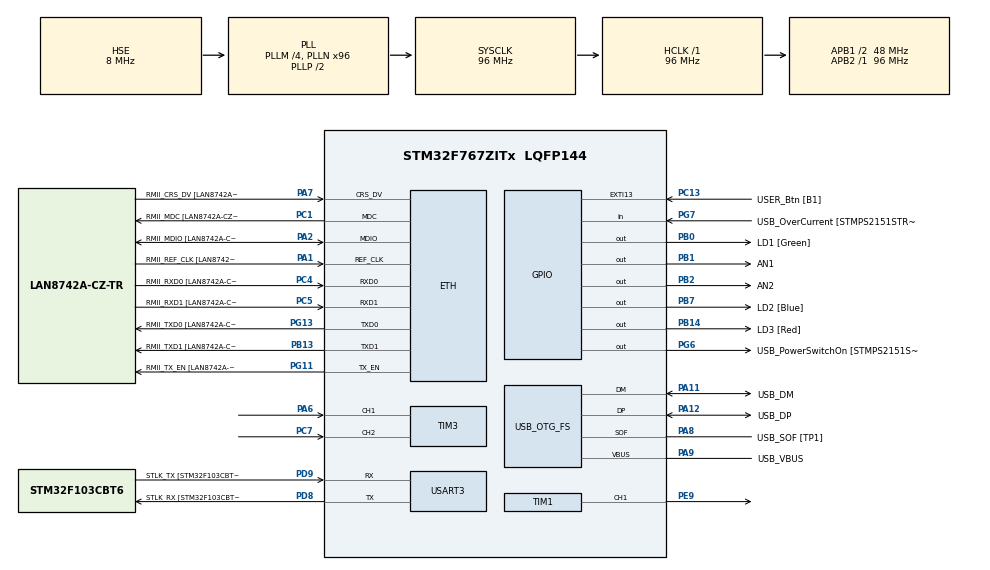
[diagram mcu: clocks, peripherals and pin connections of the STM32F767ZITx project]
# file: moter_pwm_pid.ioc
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ETH.MediaInterface=HAL_ETH_RMII_MODE
ETH.PHY_Name=LAN8742A_PHY_ADDRESS
ETH.PHY_Value=0
ETH.PhyAddress=0
FREERTOS.Tasks01=MotorControlTas,48,512,StartDefaultTask,Default,NULL,Dynamic,NULL,NULL
FREERTOS.configUSE_NEWLIB_REENTRANT=1
Mcu.Family=STM32F7
Mcu.Name=STM32F767ZITx
Mcu.Package=LQFP144
NVIC.PriorityGroup=NVIC_PRIORITYGROUP_4
NVIC.TIM6_DAC_IRQn=true\:15\:0\:false\:false\:true\:false\:false\:true\:true
NVIC.TimeBase=TIM6_DAC_IRQn
NVIC.TimeBaseIP=TIM6
PA1.GPIO_Label=RMII_REF_CLK [LAN8742A-CZ-TR_REFCLK0]
PA1.Mode=RMII
PA1.Signal=ETH_REF_CLK
PA10.GPIO_Label=USB_ID
PA10.Signal=USB_OTG_FS_ID
PA11.GPIO_Label=USB_DM
PA11.Mode=Device_Only
PA11.Signal=USB_OTG_FS_DM
PA12.GPIO_Label=USB_DP
PA12.Mode=Device_Only
PA12.Signal=USB_OTG_FS_DP
PA13.GPIO_Label=TMS
PA13.Mode=Serial_Wire
PA13.Signal=SYS_JTMS-SWDIO
PA14.GPIO_Label=TCK
PA14.Mode=Serial_Wire
PA14.Signal=SYS_JTCK-SWCLK
PA2.GPIO_Label=RMII_MDIO [LAN8742A-CZ-TR_MDIO]
PA2.Mode=RMII
PA2.Signal=ETH_MDIO
PA6.Signal=S_TIM3_CH1
PA7.GPIO_Label=RMII_CRS_DV [LAN8742A-CZ-TR_CRS_DV]
PA7.Mode=RMII
PA7.Signal=ETH_CRS_DV
PA8.GPIO_Label=USB_SOF [TP1]
PA8.Mode=Activate_SOF_FS
PA8.Signal=USB_OTG_FS_SOF
PA9.GPIO_Label=USB_VBUS
PA9.Mode=Activate_VBUS
PA9.Signal=USB_OTG_FS_VBUS
PB0.GPIO_Label=LD1 [Green]
PB0.Signal=GPIO_Output
PB1.GPIO_Label=AN1
PB1.Signal=GPIO_Output
PB13.GPIO_Label=RMII_TXD1 [LAN8742A-CZ-TR_TXD1]
PB13.Mode=RMII
PB13.Signal=ETH_TXD1
PB14.GPIO_Label=LD3 [Red]
PB14.Signal=GPIO_Output
PB2.GPIO_Label=AN2
PB2.Signal=GPIO_Output
PB3.GPIO_Label=SWO
PB3.Signal=SYS_JTDO-SWO
PB7.GPIO_Label=LD2 [Blue]
PB7.Signal=GPIO_Output
PC1.GPIO_Label=RMII_MDC [LAN8742A-CZ-TR_MDC]
PC1.Mode=RMII
PC1.Signal=ETH_MDC
PC13.GPIO_Label=USER_Btn [B1]
PC13.Signal=GPXTI13
PC14/OSC32_IN.Mode=LSE-External-Oscillator
PC14/OSC32_IN.Signal=RCC_OSC32_IN
PC15/OSC32_OUT.Mode=LSE-External-Oscillator
PC15/OSC32_OUT.Signal=RCC_OSC32_OUT
PC4.GPIO_Label=RMII_RXD0 [LAN8742A-CZ-TR_RXD0]
PC4.Mode=RMII
PC4.Signal=ETH_RXD0
PC5.GPIO_Label=RMII_RXD1 [LAN8742A-CZ-TR_RXD1]
PC5.Mode=RMII
PC5.Signal=ETH_RXD1
PC7.Signal=S_TIM3_CH2
PD8.GPIO_Label=STLK_RX [STM32F103CBT6_PA3]
PD8.Mode=Asynchronous
PD8.Signal=USART3_TX
PD9.GPIO_Label=STLK_TX [STM32F103CBT6_PA2]
PD9.Mode=Asynchronous
PD9.Signal=USART3_RX
PE9.Signal=S_TIM1_CH1
PG11.GPIO_Label=RMII_TX_EN [LAN8742A-CZ-TR_TXEN]
PG11.Mode=RMII
PG11.Signal=ETH_TX_EN
PG13.GPIO_Label=RMII_TXD0 [LAN8742A-CZ-TR_TXD0]
PG13.Mode=RMII
PG13.Signal=ETH_TXD0
PG6.GPIO_Label=USB_PowerSwitchOn [STMPS2151STR_EN]
PG6.Signal=GPIO_Output
PG7.GPIO_Label=USB_OverCurrent [STMPS2151STR_FAULT]
PG7.Signal=GPIO_Input
PH0/OSC_IN.GPIO_Label=MCO [STM32F103CBT6_PA8]
PH0/OSC_IN.Mode=HSE-External-Clock-Source
PH0/OSC_IN.Signal=RCC_OSC_IN
PH1/OSC_OUT.Mode=HSE-External-Clock-Source
PH1/OSC_OUT.Signal=RCC_OSC_OUT
ProjectManager.HeapSize=0x200
ProjectManager.StackSize=0x400
ProjectManager.TargetToolchain=STM32CubeIDE
RCC.48MHZClocksFreq_Value=24000000
RCC.AHBFreq_Value=96000000
RCC.APB1CLKDivider=RCC_HCLK_DIV2
RCC.APB1Freq_Value=48000000
RCC.APB1TimFreq_Value=96000000
RCC.APB2Freq_Value=96000000
RCC.APB2TimFreq_Value=96000000
RCC.CortexFreq_Value=96000000
RCC.HCLKFreq_Value=96000000
RCC.HSE_VALUE=8000000
RCC.HSI_VALUE=16000000
RCC.PLLM=4
RCC.PLLMUL=RCC_PLL_MUL9
RCC.PLLN=96
RCC.PLLQ=4
RCC.PRESCALERUSB=RCC_USBCLKSOURCE_PLL_DIV1_5
RCC.SYSCLKFreq_VALUE=96000000
RCC.SYSCLKSource=RCC_SYSCLKSOURCE_PLLCLK
RCC.SYSCLKSourceVirtual=RCC_SYSCLKSOURCE_PLLCLK
RCC.USBFreq_Value=48000000
RCC.VCOOutputFreq_Value=192000000
SH.S_TIM1_CH1.0=TIM1_CH1,PWM Generation1 CH1
SH.S_TIM3_CH1.0=TIM3_CH1,Encoder_Interface
SH.S_TIM3_CH2.0=TIM3_CH2,Encoder_Interface
TIM1.AutoReloadPreload=TIM_AUTORELOAD_PRELOAD_ENABLE
TIM1.Channel-PWM\ Generation1\ CH1=TIM_CHANNEL_1
TIM1.CounterMode=TIM_COUNTERMODE_CENTERALIGNED1
TIM1.Period=5400
TIM3.EncoderMode=TIM_ENCODERMODE_TI12
USART3.VirtualMode-Asynchronous=VM_ASYNC
USB_OTG_FS.VirtualMode=Device_Only
VP_FREERTOS_VS_CMSIS_V2.Mode=CMSIS_V2
VP_SYS_VS_tim6.Mode=TIM6
VP_TIM1_VS_ClockSourceINT.Mode=Internal
board=NUCLEO-F767ZI

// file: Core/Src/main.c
/* USER CODE BEGIN Header */
/**
  ******************************************************************************
  * @file           : main.c
  * @brief          : Main program body
  ******************************************************************************
  * @attention
  *
  * Copyright (c) 2026 STMicroelectronics.
  * All rights reserved.
  *
  * This software is licensed under terms that can be found in the LICENSE file
  * in the root directory of this software component.
  * If no LICENSE file comes with this software, it is provided AS-IS.
  *
  ******************************************************************************
  */
/* USER CODE END Header */
#include "main.h"
#include "string.h"
#include "cmsis_os.h"

#if defined ( __ICCARM__ ) /*!< IAR Compiler */
#pragma location=0x2007c000
ETH_DMADescTypeDef  DMARxDscrTab[ETH_RX_DESC_CNT]; /* Ethernet Rx DMA Descriptors */
#pragma location=0x2007c0a0
ETH_DMADescTypeDef  DMATxDscrTab[ETH_TX_DESC_CNT]; /* Ethernet Tx DMA Descriptors */

#elif defined ( __CC_ARM )  /* MDK ARM Compiler */

__attribute__((at(0x2007c000))) ETH_DMADescTypeDef  DMARxDscrTab[ETH_RX_DESC_CNT]; /* Ethernet Rx DMA Descriptors */
__attribute__((at(0x2007c0a0))) ETH_DMADescTypeDef  DMATxDscrTab[ETH_TX_DESC_CNT]; /* Ethernet Tx DMA Descriptors */

#elif defined ( __GNUC__ ) /* GNU Compiler */

ETH_DMADescTypeDef DMARxDscrTab[ETH_RX_DESC_CNT] __attribute__((section(".RxDecripSection"))); /* Ethernet Rx DMA Descriptors */
ETH_DMADescTypeDef DMATxDscrTab[ETH_TX_DESC_CNT] __attribute__((section(".TxDecripSection")));   /* Ethernet Tx DMA Descriptors */
#endif

ETH_TxPacketConfig TxConfig;

ETH_HandleTypeDef heth;

TIM_HandleTypeDef htim1;
TIM_HandleTypeDef htim3;

UART_HandleTypeDef huart3;

PCD_HandleTypeDef hpcd_USB_OTG_FS;

/* Definitions for MotorControlTas */
osThreadId_t MotorControlTasHandle;
const osThreadAttr_t MotorControlTas_attributes = {
  .name = "MotorControlTas",
  .stack_size = 512 * 4,
  .priority = (osPriority_t) osPriorityRealtime,
};
/* USER CODE BEGIN PV */
int32_t last_cnt = 0;
float current_v = 0.0f;
volatile uint16_t u_pwm = 0;
float setpoint = 0.2f;    // 목표 속도 0.2 m/s
float e_prev = 0.0f;      // 직전 오차 (e[k-1])
float u_prev = 0.0f;      // 직전 제어 출력 (u[k-1])
static float x_hat = 0.0f;
static float P = 1.0f;
static const float Q = 0.00001f;
static const float R = 0.1f;
float raw_v;
/* USER CODE END PV */

void SystemClock_Config(void);
static void MX_GPIO_Init(void);
static void MX_ETH_Init(void);
static void MX_USART3_UART_Init(void);
static void MX_USB_OTG_FS_PCD_Init(void);
static void MX_TIM1_Init(void);
static void MX_TIM3_Init(void);
void StartDefaultTask(void *argument);

/* USER CODE BEGIN PFP */
float Kalman_Filter(float z);
/* USER CODE END PFP */

int main(void)
{

  /* MCU Configuration--------------------------------------------------------*/

  /* Reset of all peripherals, Initializes the Flash interface and the Systick. */
  HAL_Init();

  /* Configure the system clock */
  SystemClock_Config();

  /* Initialize all configured peripherals */
  MX_GPIO_Init();
  MX_ETH_Init();
  MX_USART3_UART_Init();
  MX_USB_OTG_FS_PCD_Init();
  MX_TIM1_Init();
  MX_TIM3_Init();

  /* Init scheduler */
  osKernelInitialize();

  /* Create the thread(s) */
  /* creation of MotorControlTas */
  MotorControlTasHandle = osThreadNew(StartDefaultTask, NULL, &MotorControlTas_attributes);

  /* Start scheduler */
  osKernelStart();

  /* We should never get here as control is now taken by the scheduler */

  /* Infinite loop */
  while (1)
  {

  }
}

void SystemClock_Config(void)
{
  RCC_OscInitTypeDef RCC_OscInitStruct = {0};
  RCC_ClkInitTypeDef RCC_ClkInitStruct = {0};

  /** Configure LSE Drive Capability
  */
  HAL_PWR_EnableBkUpAccess();

  /** Configure the main internal regulator output voltage
  */
  __HAL_RCC_PWR_CLK_ENABLE();
  __HAL_PWR_VOLTAGESCALING_CONFIG(PWR_REGULATOR_VOLTAGE_SCALE3);

  /** Initializes the RCC Oscillators according to the specified parameters
  * in the RCC_OscInitTypeDef structure.
  */
  RCC_OscInitStruct.OscillatorType = RCC_OSCILLATORTYPE_HSE;
  RCC_OscInitStruct.HSEState = RCC_HSE_BYPASS;
  RCC_OscInitStruct.PLL.PLLState = RCC_PLL_ON;
  RCC_OscInitStruct.PLL.PLLSource = RCC_PLLSOURCE_HSE;
  RCC_OscInitStruct.PLL.PLLM = 4;
  RCC_OscInitStruct.PLL.PLLN = 96;
  RCC_OscInitStruct.PLL.PLLP = RCC_PLLP_DIV2;
  RCC_OscInitStruct.PLL.PLLQ = 4;
  RCC_OscInitStruct.PLL.PLLR = 2;
  if (HAL_RCC_OscConfig(&RCC_OscInitStruct) != HAL_OK)
  {
    Error_Handler();
  }

  /** Activate the Over-Drive mode
  */
  if (HAL_PWREx_EnableOverDrive() != HAL_OK)
  {
    Error_Handler();
  }

  /** Initializes the CPU, AHB and APB buses clocks
  */
  RCC_ClkInitStruct.ClockType = RCC_CLOCKTYPE_HCLK|RCC_CLOCKTYPE_SYSCLK
                              |RCC_CLOCKTYPE_PCLK1|RCC_CLOCKTYPE_PCLK2;
  RCC_ClkInitStruct.SYSCLKSource = RCC_SYSCLKSOURCE_PLLCLK;
  RCC_ClkInitStruct.AHBCLKDivider = RCC_SYSCLK_DIV1;
  RCC_ClkInitStruct.APB1CLKDivider = RCC_HCLK_DIV2;
  RCC_ClkInitStruct.APB2CLKDivider = RCC_HCLK_DIV1;

  if (HAL_RCC_ClockConfig(&RCC_ClkInitStruct, FLASH_LATENCY_3) != HAL_OK)
  {
    Error_Handler();
  }
}

static void MX_ETH_Init(void)
{

   static uint8_t MACAddr[6];

  heth.Instance = ETH;
  MACAddr[0] = 0x00;
  MACAddr[1] = 0x80;
  MACAddr[2] = 0xE1;
  MACAddr[3] = 0x00;
  MACAddr[4] = 0x00;
  MACAddr[5] = 0x00;
  heth.Init.MACAddr = &MACAddr[0];
  heth.Init.MediaInterface = HAL_ETH_RMII_MODE;
  heth.Init.TxDesc = DMATxDscrTab;
  heth.Init.RxDesc = DMARxDscrTab;
  heth.Init.RxBuffLen = 1524;

  if (HAL_ETH_Init(&heth) != HAL_OK)
  {
    Error_Handler();
  }

  memset(&TxConfig, 0 , sizeof(ETH_TxPacketConfig));
  TxConfig.Attributes = ETH_TX_PACKETS_FEATURES_CSUM | ETH_TX_PACKETS_FEATURES_CRCPAD;
  TxConfig.ChecksumCtrl = ETH_CHECKSUM_IPHDR_PAYLOAD_INSERT_PHDR_CALC;
  TxConfig.CRCPadCtrl = ETH_CRC_PAD_INSERT;

}

static void MX_TIM1_Init(void)
{

  TIM_ClockConfigTypeDef sClockSourceConfig = {0};
  TIM_MasterConfigTypeDef sMasterConfig = {0};
  TIM_OC_InitTypeDef sConfigOC = {0};
  TIM_BreakDeadTimeConfigTypeDef sBreakDeadTimeConfig = {0};

  htim1.Instance = TIM1;
  htim1.Init.Prescaler = 0;
  htim1.Init.CounterMode = TIM_COUNTERMODE_CENTERALIGNED1;
  htim1.Init.Period = 5400;
  htim1.Init.ClockDivision = TIM_CLOCKDIVISION_DIV1;
  htim1.Init.RepetitionCounter = 0;
  htim1.Init.AutoReloadPreload = TIM_AUTORELOAD_PRELOAD_ENABLE;
  if (HAL_TIM_Base_Init(&htim1) != HAL_OK)
  {
    Error_Handler();
  }
  sClockSourceConfig.ClockSource = TIM_CLOCKSOURCE_INTERNAL;
  if (HAL_TIM_ConfigClockSource(&htim1, &sClockSourceConfig) != HAL_OK)
  {
    Error_Handler();
  }
  if (HAL_TIM_PWM_Init(&htim1) != HAL_OK)
  {
    Error_Handler();
  }
  sMasterConfig.MasterOutputTrigger = TIM_TRGO_RESET;
  sMasterConfig.MasterOutputTrigger2 = TIM_TRGO2_RESET;
  sMasterConfig.MasterSlaveMode = TIM_MASTERSLAVEMODE_DISABLE;
  if (HAL_TIMEx_MasterConfigSynchronization(&htim1, &sMasterConfig) != HAL_OK)
  {
    Error_Handler();
  }
  sConfigOC.OCMode = TIM_OCMODE_PWM1;
  sConfigOC.Pulse = 0;
  sConfigOC.OCPolarity = TIM_OCPOLARITY_HIGH;
  sConfigOC.OCNPolarity = TIM_OCNPOLARITY_HIGH;
  sConfigOC.OCFastMode = TIM_OCFAST_DISABLE;
  sConfigOC.OCIdleState = TIM_OCIDLESTATE_RESET;
  sConfigOC.OCNIdleState = TIM_OCNIDLESTATE_RESET;
  if (HAL_TIM_PWM_ConfigChannel(&htim1, &sConfigOC, TIM_CHANNEL_1) != HAL_OK)
  {
    Error_Handler();
  }
  sBreakDeadTimeConfig.OffStateRunMode = TIM_OSSR_DISABLE;
  sBreakDeadTimeConfig.OffStateIDLEMode = TIM_OSSI_DISABLE;
  sBreakDeadTimeConfig.LockLevel = TIM_LOCKLEVEL_OFF;
  sBreakDeadTimeConfig.DeadTime = 0;
  sBreakDeadTimeConfig.BreakState = TIM_BREAK_DISABLE;
  sBreakDeadTimeConfig.BreakPolarity = TIM_BREAKPOLARITY_HIGH;
  sBreakDeadTimeConfig.BreakFilter = 0;
  sBreakDeadTimeConfig.Break2State = TIM_BREAK2_DISABLE;
  sBreakDeadTimeConfig.Break2Polarity = TIM_BREAK2POLARITY_HIGH;
  sBreakDeadTimeConfig.Break2Filter = 0;
  sBreakDeadTimeConfig.AutomaticOutput = TIM_AUTOMATICOUTPUT_DISABLE;
  if (HAL_TIMEx_ConfigBreakDeadTime(&htim1, &sBreakDeadTimeConfig) != HAL_OK)
  {
    Error_Handler();
  }
  HAL_TIM_MspPostInit(&htim1);

}

static void MX_TIM3_Init(void)
{

  TIM_Encoder_InitTypeDef sConfig = {0};
  TIM_MasterConfigTypeDef sMasterConfig = {0};

  htim3.Instance = TIM3;
  htim3.Init.Prescaler = 0;
  htim3.Init.CounterMode = TIM_COUNTERMODE_UP;
  htim3.Init.Period = 65535;
  htim3.Init.ClockDivision = TIM_CLOCKDIVISION_DIV1;
  htim3.Init.AutoReloadPreload = TIM_AUTORELOAD_PRELOAD_DISABLE;
  sConfig.EncoderMode = TIM_ENCODERMODE_TI12;
  sConfig.IC1Polarity = TIM_ICPOLARITY_RISING;
  sConfig.IC1Selection = TIM_ICSELECTION_DIRECTTI;
  sConfig.IC1Prescaler = TIM_ICPSC_DIV1;
  sConfig.IC1Filter = 0;
  sConfig.IC2Polarity = TIM_ICPOLARITY_RISING;
  sConfig.IC2Selection = TIM_ICSELECTION_DIRECTTI;
  sConfig.IC2Prescaler = TIM_ICPSC_DIV1;
  sConfig.IC2Filter = 0;
  if (HAL_TIM_Encoder_Init(&htim3, &sConfig) != HAL_OK)
  {
    Error_Handler();
  }
  sMasterConfig.MasterOutputTrigger = TIM_TRGO_RESET;
  sMasterConfig.MasterSlaveMode = TIM_MASTERSLAVEMODE_DISABLE;
  if (HAL_TIMEx_MasterConfigSynchronization(&htim3, &sMasterConfig) != HAL_OK)
  {
    Error_Handler();
  }

}

static void MX_USART3_UART_Init(void)
{

  huart3.Instance = USART3;
  huart3.Init.BaudRate = 115200;
  huart3.Init.WordLength = UART_WORDLENGTH_8B;
  huart3.Init.StopBits = UART_STOPBITS_1;
  huart3.Init.Parity = UART_PARITY_NONE;
  huart3.Init.Mode = UART_MODE_TX_RX;
  huart3.Init.HwFlowCtl = UART_HWCONTROL_NONE;
  huart3.Init.OverSampling = UART_OVERSAMPLING_16;
  huart3.Init.OneBitSampling = UART_ONE_BIT_SAMPLE_DISABLE;
  huart3.AdvancedInit.AdvFeatureInit = UART_ADVFEATURE_NO_INIT;
  if (HAL_UART_Init(&huart3) != HAL_OK)
  {
    Error_Handler();
  }

}

static void MX_USB_OTG_FS_PCD_Init(void)
{

  hpcd_USB_OTG_FS.Instance = USB_OTG_FS;
  hpcd_USB_OTG_FS.Init.dev_endpoints = 6;
  hpcd_USB_OTG_FS.Init.speed = PCD_SPEED_FULL;
  hpcd_USB_OTG_FS.Init.dma_enable = DISABLE;
  hpcd_USB_OTG_FS.Init.phy_itface = PCD_PHY_EMBEDDED;
  hpcd_USB_OTG_FS.Init.Sof_enable = ENABLE;
  hpcd_USB_OTG_FS.Init.low_power_enable = DISABLE;
  hpcd_USB_OTG_FS.Init.lpm_enable = DISABLE;
  hpcd_USB_OTG_FS.Init.vbus_sensing_enable = ENABLE;
  hpcd_USB_OTG_FS.Init.use_dedicated_ep1 = DISABLE;
  if (HAL_PCD_Init(&hpcd_USB_OTG_FS) != HAL_OK)
  {
    Error_Handler();
  }

}

static void MX_GPIO_Init(void)
{
  GPIO_InitTypeDef GPIO_InitStruct = {0};

  /* GPIO Ports Clock Enable */
  __HAL_RCC_GPIOC_CLK_ENABLE();
  __HAL_RCC_GPIOH_CLK_ENABLE();
  __HAL_RCC_GPIOA_CLK_ENABLE();
  __HAL_RCC_GPIOB_CLK_ENABLE();
  __HAL_RCC_GPIOE_CLK_ENABLE();
  __HAL_RCC_GPIOD_CLK_ENABLE();
  __HAL_RCC_GPIOG_CLK_ENABLE();

  /*Configure GPIO pin Output Level */
  HAL_GPIO_WritePin(GPIOB, LD1_Pin|AN1_Pin|AN2_Pin|LD3_Pin
                          |LD2_Pin, GPIO_PIN_RESET);

  /*Configure GPIO pin Output Level */
  HAL_GPIO_WritePin(USB_PowerSwitchOn_GPIO_Port, USB_PowerSwitchOn_Pin, GPIO_PIN_RESET);

  /*Configure GPIO pin : USER_Btn_Pin */
  GPIO_InitStruct.Pin = USER_Btn_Pin;
  GPIO_InitStruct.Mode = GPIO_MODE_IT_RISING;
  GPIO_InitStruct.Pull = GPIO_NOPULL;
  HAL_GPIO_Init(USER_Btn_GPIO_Port, &GPIO_InitStruct);

  /*Configure GPIO pins : LD1_Pin AN1_Pin AN2_Pin LD3_Pin
                           LD2_Pin */
  GPIO_InitStruct.Pin = LD1_Pin|AN1_Pin|AN2_Pin|LD3_Pin
                          |LD2_Pin;
  GPIO_InitStruct.Mode = GPIO_MODE_OUTPUT_PP;
  GPIO_InitStruct.Pull = GPIO_NOPULL;
  GPIO_InitStruct.Speed = GPIO_SPEED_FREQ_LOW;
  HAL_GPIO_Init(GPIOB, &GPIO_InitStruct);

  /*Configure GPIO pin : USB_PowerSwitchOn_Pin */
  GPIO_InitStruct.Pin = USB_PowerSwitchOn_Pin;
  GPIO_InitStruct.Mode = GPIO_MODE_OUTPUT_PP;
  GPIO_InitStruct.Pull = GPIO_NOPULL;
  GPIO_InitStruct.Speed = GPIO_SPEED_FREQ_LOW;
  HAL_GPIO_Init(USB_PowerSwitchOn_GPIO_Port, &GPIO_InitStruct);

  /*Configure GPIO pin : USB_OverCurrent_Pin */
  GPIO_InitStruct.Pin = USB_OverCurrent_Pin;
  GPIO_InitStruct.Mode = GPIO_MODE_INPUT;
  GPIO_InitStruct.Pull = GPIO_NOPULL;
  HAL_GPIO_Init(USB_OverCurrent_GPIO_Port, &GPIO_InitStruct);

}

/* USER CODE BEGIN 4 */
float Kalman_Filter(float z) {
    P = P + Q;
    float K = P / (P + R);
    x_hat = x_hat + K * (z - x_hat);
    P = (1.0f - K) * P;
    return x_hat;
}
/* USER CODE END 4 */

void StartDefaultTask(void *argument)
{
  /* USER CODE BEGIN 5 */
	HAL_TIM_PWM_Start(&htim1, TIM_CHANNEL_1);
	HAL_TIM_Encoder_Start(&htim3, TIM_CHANNEL_ALL);
	HAL_GPIO_WritePin(AN1_GPIO_Port, AN1_Pin, 0);
	HAL_GPIO_WritePin(AN2_GPIO_Port, AN2_Pin, 1);
	last_cnt = __HAL_TIM_GET_COUNTER(&htim3);
	while(HAL_GPIO_ReadPin(GPIOC, GPIO_PIN_13) == GPIO_PIN_RESET) {
	      osDelay(10);
	  }
	last_cnt = __HAL_TIM_GET_COUNTER(&htim3);
	u_prev = 0; // 혹시 모를 잔여 출력값도 초기화
	e_prev = 0; // 이전 오차도 초기화
  /* Infinite loop */
  for(;;)
  {
	  // 1. 피드백: 현재 속도 읽기
	        int32_t current_cnt = __HAL_TIM_GET_COUNTER(&htim3);
	        int16_t delta_tick = (int16_t)(current_cnt - last_cnt);
	        last_cnt = current_cnt;
	        raw_v = ((float)delta_tick / 1632.0f) * 0.2041f * 100.0f;
	        current_v = Kalman_Filter(raw_v);
	        // 2. 오차 계산
	        float e = setpoint - current_v;

	        // 3. PI 제어 연산 (Tustin 수식 적용(PI 제어기 적용))
	        float u_out = u_prev + 1.2f*(491.16f * e) - (423.87f * e_prev);

	        // 4. 출력 제한 (TIM1 ARR이 5400이므로)
	        if (u_out > 5400.0f) u_out = 5400.0f;
	        if (u_out < 0.0f) 		   u_out = 0.0f;

	        // 5. PWM 출력
	        __HAL_TIM_SET_COMPARE(&htim1, TIM_CHANNEL_1, (uint32_t)u_out);

	        // 6. 상태 업데이트
	        u_prev = u_out;
	        e_prev = e;

	        osDelay(10);
  /* USER CODE END 5 */
  }
}

void HAL_TIM_PeriodElapsedCallback(TIM_HandleTypeDef *htim)
{
  if (htim->Instance == TIM6)
  {
    HAL_IncTick();
  }
}

void Error_Handler(void)
{
  __disable_irq();
  while (1)
  {
  }
}
